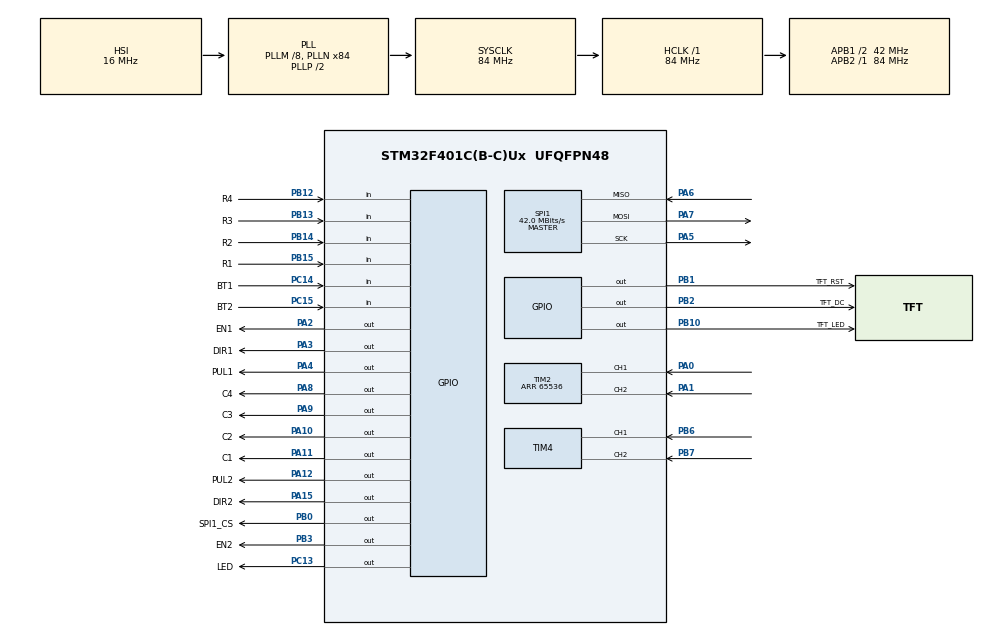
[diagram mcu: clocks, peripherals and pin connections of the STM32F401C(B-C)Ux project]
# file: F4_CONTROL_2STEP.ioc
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Dma.Request0=SPI1_TX
Dma.SPI1_TX.0.Direction=DMA_MEMORY_TO_PERIPH
Dma.SPI1_TX.0.FIFOMode=DMA_FIFOMODE_DISABLE
Dma.SPI1_TX.0.Instance=DMA2_Stream3
Dma.SPI1_TX.0.MemDataAlignment=DMA_MDATAALIGN_BYTE
Dma.SPI1_TX.0.MemInc=DMA_MINC_ENABLE
Dma.SPI1_TX.0.Mode=DMA_NORMAL
Dma.SPI1_TX.0.PeriphDataAlignment=DMA_PDATAALIGN_BYTE
Dma.SPI1_TX.0.PeriphInc=DMA_PINC_DISABLE
Dma.SPI1_TX.0.Priority=DMA_PRIORITY_LOW
Mcu.Family=STM32F4
Mcu.Name=STM32F401C(B-C)Ux
Mcu.Package=UFQFPN48
NVIC.DMA2_Stream3_IRQn=true\:0\:0\:false\:false\:true\:false\:true\:true
NVIC.PriorityGroup=NVIC_PRIORITYGROUP_4
NVIC.SPI1_IRQn=true\:0\:0\:false\:false\:true\:true\:true\:true
NVIC.TIM1_BRK_TIM9_IRQn=true\:0\:0\:false\:false\:true\:true\:true\:true
NVIC.TIM1_TRG_COM_TIM11_IRQn=true\:0\:0\:false\:false\:true\:true\:true\:true
NVIC.TIM1_UP_TIM10_IRQn=true\:10\:0\:true\:false\:true\:true\:true\:true
NVIC.TIM2_IRQn=true\:0\:0\:false\:false\:true\:true\:true\:true
NVIC.TIM4_IRQn=true\:0\:0\:false\:false\:true\:true\:true\:true
PA0-WKUP.GPIO_PuPd=GPIO_PULLUP
PA0-WKUP.Signal=S_TIM2_CH1_ETR
PA1.GPIO_PuPd=GPIO_PULLUP
PA1.Signal=S_TIM2_CH2
PA10.GPIO_Label=C2
PA10.Signal=GPIO_Output
PA11.GPIO_Label=C1
PA11.Signal=GPIO_Output
PA12.GPIO_Label=PUL2
PA12.GPIO_Speed=GPIO_SPEED_FREQ_VERY_HIGH
PA12.Signal=GPIO_Output
PA13.Mode=Serial_Wire
PA13.Signal=SYS_JTMS-SWDIO
PA14.Mode=Serial_Wire
PA14.Signal=SYS_JTCK-SWCLK
PA15.GPIO_Label=DIR2
PA15.GPIO_PuPd=GPIO_PULLUP
PA15.PinState=GPIO_PIN_SET
PA15.Signal=GPIO_Output
PA2.GPIO_Label=EN1
PA2.GPIO_Speed=GPIO_SPEED_FREQ_LOW
PA2.Signal=GPIO_Output
PA3.GPIO_Label=DIR1
PA3.Signal=GPIO_Output
PA4.GPIO_Label=PUL1
PA4.GPIO_Speed=GPIO_SPEED_FREQ_HIGH
PA4.Signal=GPIO_Output
PA5.Mode=Full_Duplex_Master
PA5.Signal=SPI1_SCK
PA6.Mode=Full_Duplex_Master
PA6.Signal=SPI1_MISO
PA7.Mode=Full_Duplex_Master
PA7.Signal=SPI1_MOSI
PA8.GPIO_Label=C4
PA8.Signal=GPIO_Output
PA9.GPIO_Label=C3
PA9.Signal=GPIO_Output
PB0.GPIO_Label=SPI1_CS
PB0.Signal=GPIO_Output
PB1.GPIO_Label=TFT_RST
PB1.Signal=GPIO_Output
PB10.GPIO_Label=TFT_LED
PB10.Signal=GPIO_Output
PB12.GPIO_Label=R4
PB12.Signal=GPIO_Input
PB13.GPIO_Label=R3
PB13.Signal=GPIO_Input
PB14.GPIO_Label=R2
PB14.Signal=GPIO_Input
PB15.GPIO_Label=R1
PB15.Signal=GPIO_Input
PB2.GPIO_Label=TFT_DC
PB2.Signal=GPIO_Output
PB3.GPIO_Label=EN2
PB3.Signal=GPIO_Output
PB6.Signal=S_TIM4_CH1
PB7.Signal=S_TIM4_CH2
PC13-ANTI_TAMP.GPIO_Label=LED
PC13-ANTI_TAMP.Signal=GPIO_Output
PC14-OSC32_IN.GPIO_Label=BT1
PC14-OSC32_IN.Signal=GPIO_Input
PC15-OSC32_OUT.GPIO_Label=BT2
PC15-OSC32_OUT.Signal=GPIO_Input
PH0\ -\ OSC_IN.Mode=HSE-External-Oscillator
PH0\ -\ OSC_IN.Signal=RCC_OSC_IN
PH1\ -\ OSC_OUT.Mode=HSE-External-Oscillator
PH1\ -\ OSC_OUT.Signal=RCC_OSC_OUT
ProjectManager.HeapSize=0x200
ProjectManager.StackSize=0x400
ProjectManager.TargetToolchain=MDK-ARM V5.32
RCC.48MHZClocksFreq_Value=42000000
RCC.AHBFreq_Value=84000000
RCC.APB1CLKDivider=RCC_HCLK_DIV2
RCC.APB1Freq_Value=42000000
RCC.APB1TimFreq_Value=84000000
RCC.APB2Freq_Value=84000000
RCC.APB2TimFreq_Value=84000000
RCC.CortexFreq_Value=84000000
RCC.HCLKFreq_Value=84000000
RCC.HSE_VALUE=25000000
RCC.HSI_VALUE=16000000
RCC.LSE_VALUE=32768
RCC.PLLM=8
RCC.PLLN=84
RCC.SYSCLKFreq_VALUE=84000000
RCC.SYSCLKSource=RCC_SYSCLKSOURCE_PLLCLK
RCC.VCOOutputFreq_Value=168000000
SH.S_TIM2_CH1_ETR.0=TIM2_CH1,Encoder_Interface
SH.S_TIM2_CH2.0=TIM2_CH2,Encoder_Interface
SH.S_TIM4_CH1.0=TIM4_CH1,Encoder_Interface
SH.S_TIM4_CH2.0=TIM4_CH2,Encoder_Interface
SPI1.CalculateBaudRate=42.0 MBits/s
SPI1.Direction=SPI_DIRECTION_2LINES
SPI1.Mode=SPI_MODE_MASTER
SPI1.VirtualType=VM_MASTER
TIM10.Period=70-1
TIM10.Prescaler=84-1
TIM11.Period=10000-1
TIM11.Prescaler=84-1
TIM2.AutoReloadPreload=TIM_AUTORELOAD_PRELOAD_DISABLE
TIM2.EncoderMode=TIM_ENCODERMODE_TI12
TIM2.IC1Filter=10
TIM2.IC1Prescaler=TIM_ICPSC_DIV1
TIM2.IC2Filter=10
TIM2.IC2Prescaler=TIM_ICPSC_DIV1
TIM2.Period=65536
TIM4.EncoderMode=TIM_ENCODERMODE_TI12
TIM4.IC1Filter=10
TIM4.IC2Filter=10
TIM9.Period=0
VP_TIM10_VS_ClockSourceINT.Mode=Enable_Timer
VP_TIM11_VS_ClockSourceINT.Mode=Enable_Timer
VP_TIM9_VS_ClockSourceINT.Mode=Internal
board=custom

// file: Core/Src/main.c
/* USER CODE BEGIN Header */
/**
  ******************************************************************************
  * @file           : main.c
  * @brief          : Main program body
  ******************************************************************************
  * @attention
  *
  * Copyright (c) 2024 STMicroelectronics.
  * All rights reserved.
  *
  * This software is licensed under terms that can be found in the LICENSE file
  * in the root directory of this software component.
  * If no LICENSE file comes with this software, it is provided AS-IS.
  *
  ******************************************************************************
  */
/* USER CODE END Header */
#include "main.h"
#include "dma.h"
#include "spi.h"
#include "tim.h"
#include "gpio.h"

/* USER CODE BEGIN Includes */
#include "Keypad_user.h"
#include "flash.h"
#include "Button_user.h"
#include "ILI9431_user.h"
#include "step_user.h"
#include "string.h"
#include "stdio.h"
#include "math.h"
#include "stdlib.h"
#include "stdbool.h"
#include "logo.h"
/* USER CODE END Includes */

/* USER CODE BEGIN PV */
uint16_t inputAngle = 10;

float ROUND = 360;
#define  DOT  (ROUND / inputAngle)

volatile EncoderNew_t encoderCurr;
typedef enum
{
		CW,
		CCW
}direction_t;

volatile direction_t dirEncoder1, dirEncoder2;
volatile int16_t valueEncoder1, valueEncoder2;

volatile bool changeData, changeEncoder1 ,changeEncoder2;

Screen_t screenCurr = AUTO_SCREEN, screenLast;

dataUser_t dataUserInput;

static uint32_t pulseStep2;

/* USER CODE END PV */

void SystemClock_Config(void);

/* USER CODE BEGIN 0 */
volatile uint8_t dataEncoder1 = 0, dataEncoder2 = 0;
uint64_t timeLed;
uint8_t stateBT1, stateBT2;
char key;

void HAL_TIM_PeriodElapsedCallback(TIM_HandleTypeDef *htim)
{
	if(htim->Instance == htim10.Instance)
	{
			if(pulseStep2 != 0)
			{
					HAL_GPIO_TogglePin(PUL2_GPIO_Port, PUL2_Pin);
					pulseStep2--;
					HAL_TIM_Encoder_Stop_IT(&htim2, TIM_CHANNEL_1 | TIM_CHANNEL_2);
			}
			else
			{
					HAL_TIM_Encoder_Start_IT(&htim2, TIM_CHANNEL_1 | TIM_CHANNEL_2);
			}
	}
	if(htim->Instance == htim11.Instance)
	{
			KEYPAD_Scan(0);
			key = getKey();
	}
}

void HAL_TIM_IC_CaptureCallback(TIM_HandleTypeDef *htim)
{
		if(htim->Instance == htim2.Instance)
		{
			changeData = true;
			changeEncoder1 = true;
			encoderCurr = ENCODER1;

			dirEncoder1 = __HAL_TIM_IS_TIM_COUNTING_DOWN(&htim2);
			valueEncoder1 = -__HAL_TIM_GetCounter(&htim2)/4;
			if(dirEncoder1 == CCW)		//  NGUOC
			{
					if(valueEncoder1 > 0)
					{
							dataEncoder1 = valueEncoder1;
					}
					else if (valueEncoder1 <= 0)
					{
							dataEncoder1 = (ROUND / DOT) - abs(valueEncoder1);

					}
			}
			else if (dirEncoder1 == CW)		//  THUAN
			{
					if(valueEncoder1 > 0)
					{
							dataEncoder1 = valueEncoder1;
					}
					else if (valueEncoder1 <= 0)
					{
							dataEncoder1 = (ROUND / DOT) - abs(valueEncoder1);
					}
			}

			if(screenCurr == AUTO_SCREEN)
			{
					if(dataEncoder1 > (inputAngle - 1))
					{
							__HAL_TIM_SetCounter(&htim2, -4);
					}
					if(dataEncoder1 <= inputAngle || dataEncoder1 >= 0)
					{
							dataUserInput.AngleStep = valueEncoder1 * (ROUND / inputAngle);
							dataUserInput.AngleTFT = valueEncoder1;
					}
			}
			else if(screenCurr == MANUAL_SCREEN)
			{
					if(dataEncoder1 <= 3 && dataEncoder1 > 0)
					{
							dataUserInput.page = dataEncoder1;
					}
					else if(dataEncoder1 > 3 || dataEncoder1 < 0)
					{
							__HAL_TIM_SetCounter(&htim2, -4);
					}
			}
		}
		else if(htim->Instance == htim4.Instance)
		{
				valueEncoder2 = __HAL_TIM_GetCounter(&htim4) / 4;
				dirEncoder2 = __HAL_TIM_IS_TIM_COUNTING_DOWN(&htim4);

				if(valueEncoder2 <= 360 && valueEncoder2 > 0)
				{
						if(dirEncoder2 == CCW)		//  NGUOC
						{
								if(valueEncoder2 > 0)
								{
										dataEncoder2 = valueEncoder2;

								}
								else if (valueEncoder2 <= 0)
								{
										dataEncoder2 = (ROUND / DOT) - abs(valueEncoder2);

								}
						}
						else if (dirEncoder2 == CW)		//  THUAN
						{
								if(valueEncoder2 > 0)
								{
										dataEncoder2 = valueEncoder2;
								}
								else if (valueEncoder2 <= 0)
								{
										dataEncoder2 = (ROUND / DOT) - abs(valueEncoder2);
								}
						}
						dataUserInput.encoder2 = dataEncoder2 - 1;
				}
				else if (valueEncoder2 > 360 || valueEncoder2 <= 0)
				{
						__HAL_TIM_SetCounter(&htim4, 4);
				}
				changeData = true;
				changeEncoder2 = true;
				encoderCurr = ENCODER2;
		}
}

/* USER CODE END 0 */

int main(void)
{

  /* MCU Configuration--------------------------------------------------------*/

  /* Reset of all peripherals, Initializes the Flash interface and the Systick. */
  HAL_Init();

  /* Configure the system clock */
  SystemClock_Config();

  /* Initialize all configured peripherals */
  MX_GPIO_Init();
  MX_DMA_Init();
  MX_SPI1_Init();
  MX_TIM2_Init();
  MX_TIM9_Init();
  MX_TIM4_Init();
  MX_TIM10_Init();
  MX_TIM11_Init();
  /* USER CODE BEGIN 2 */

	HAL_TIM_Base_Start_IT(&htim10);

	HAL_GPIO_WritePin(EN2_GPIO_Port, EN2_Pin,1);

	initButton();
	initILI();

	dataUserInput.numAngle = DOT;
	dataUserInput.OneRound = 1;
	dataUserInput.AngleStep = 0;
	changeEncoder1 = true;
	changeEncoder2 = false;
	drawCircleAngle(dataUserInput);

	HAL_TIM_Encoder_Start_IT(&htim2, TIM_CHANNEL_1 | TIM_CHANNEL_2);
	HAL_TIM_Encoder_Start_IT(&htim4, TIM_CHANNEL_1 | TIM_CHANNEL_2);
	__HAL_TIM_SetCounter(&htim2, -4);
	__HAL_TIM_SetCounter(&htim4, 4);
	initKeypad();

	//ILI9341_Draw_Image((const char*)snow_tiger, SCREEN_VERTICAL_2);
	//ILI9341_Draw_Image((const char*)logo, SCREEN_HORIZONTAL_2);
	//HAL_Delay(5000);
	clearLCD();
  /* USER CODE END 2 */

  /* Infinite loop */
  /* USER CODE BEGIN WHILE */
  while (1)
  {

		stateBT1 = HAL_GPIO_ReadPin(BT1_GPIO_Port, BT1_Pin);
		stateBT2 = HAL_GPIO_ReadPin(BT2_GPIO_Port, BT2_Pin);
		buttonHandle();

		if(HAL_GetTick() - timeLed > 100)
		{
				if(screenLast != screenCurr)
				{
						clearLCD();
						ArrayTFT(screenCurr, dataUserInput);
						screenLast = screenCurr;
				}
				if(changeData == true)
				{
						changeData = false;
						ArrayTFT(screenCurr, dataUserInput);
						pulseStep2 = stepAngle(dataUserInput.AngleStep);
				}
				//HAL_GPIO_TogglePin(DIR2_GPIO_Port, DIR2_Pin);
				//pulse = 6400;
				HAL_GPIO_TogglePin(LED_GPIO_Port, LED_Pin);
				timeLed = HAL_GetTick();
		}
		dataUserInput.numAngle = DOT;

    /* USER CODE END WHILE */

  }
}

void SystemClock_Config(void)
{
  RCC_OscInitTypeDef RCC_OscInitStruct = {0};
  RCC_ClkInitTypeDef RCC_ClkInitStruct = {0};

  /** Configure the main internal regulator output voltage
  */
  __HAL_RCC_PWR_CLK_ENABLE();
  __HAL_PWR_VOLTAGESCALING_CONFIG(PWR_REGULATOR_VOLTAGE_SCALE2);

  /** Initializes the RCC Oscillators according to the specified parameters
  * in the RCC_OscInitTypeDef structure.
  */
  RCC_OscInitStruct.OscillatorType = RCC_OSCILLATORTYPE_HSI;
  RCC_OscInitStruct.HSIState = RCC_HSI_ON;
  RCC_OscInitStruct.HSICalibrationValue = RCC_HSICALIBRATION_DEFAULT;
  RCC_OscInitStruct.PLL.PLLState = RCC_PLL_ON;
  RCC_OscInitStruct.PLL.PLLSource = RCC_PLLSOURCE_HSI;
  RCC_OscInitStruct.PLL.PLLM = 8;
  RCC_OscInitStruct.PLL.PLLN = 84;
  RCC_OscInitStruct.PLL.PLLP = RCC_PLLP_DIV2;
  RCC_OscInitStruct.PLL.PLLQ = 4;
  if (HAL_RCC_OscConfig(&RCC_OscInitStruct) != HAL_OK)
  {
    Error_Handler();
  }

  /** Initializes the CPU, AHB and APB buses clocks
  */
  RCC_ClkInitStruct.ClockType = RCC_CLOCKTYPE_HCLK|RCC_CLOCKTYPE_SYSCLK
                              |RCC_CLOCKTYPE_PCLK1|RCC_CLOCKTYPE_PCLK2;
  RCC_ClkInitStruct.SYSCLKSource = RCC_SYSCLKSOURCE_PLLCLK;
  RCC_ClkInitStruct.AHBCLKDivider = RCC_SYSCLK_DIV1;
  RCC_ClkInitStruct.APB1CLKDivider = RCC_HCLK_DIV2;
  RCC_ClkInitStruct.APB2CLKDivider = RCC_HCLK_DIV1;

  if (HAL_RCC_ClockConfig(&RCC_ClkInitStruct, FLASH_LATENCY_2) != HAL_OK)
  {
    Error_Handler();
  }
}

void Error_Handler(void)
{
  __disable_irq();
  while (1)
  {
  }
}
